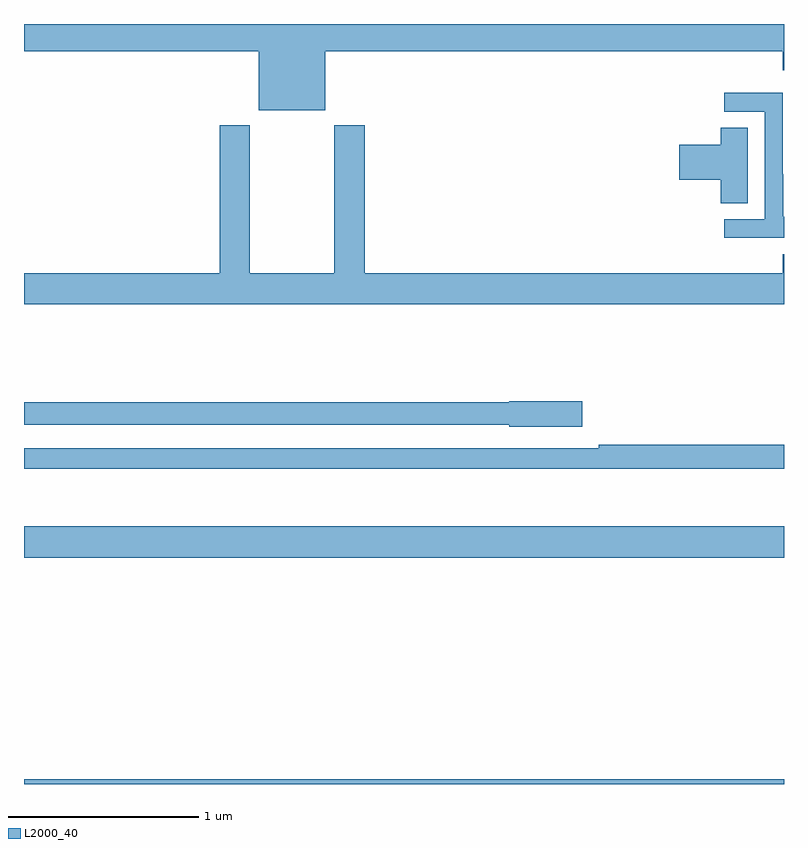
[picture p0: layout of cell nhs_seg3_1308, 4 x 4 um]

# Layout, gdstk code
import gdstk
lib = gdstk.Library(unit=1e-6, precision=1e-09)
def R(c, l, rs):  # rectangles x0, y0, x1, y1
    for r in rs: c.add(gdstk.rectangle(r[:2], r[2:], *l))
def P(c, l, *ps):  # polygons
    for p in ps: c.add(gdstk.Polygon(p, *l))
L2000_40 = (2000, 40)

nhs_seg3_1308 = lib.new_cell('nhs_seg3_1308')
R(nhs_seg3_1308, L2000_40, [(179,690.4,183,690.424), (179,691.592,183,691.756)])
P(nhs_seg3_1308, L2000_40, [(180.586,694.256),(182.993,694.256),(182.993,694.157),(183,694.157),(183,694.4),(179,694.4),(179,694.256),(180.236,694.256),(180.236,693.947),(180.586,693.947)],
  [(183,693.385),(182.997,693.385),(182.997,693.608),(182.994,693.608),(182.994,694.038),(182.685,694.038),(182.685,693.939),(182.898,693.939),(182.898,693.372),(182.685,693.372),(182.685,693.276),(183,693.276)],
  [(183,693.187),(182.993,693.187),(182.993,693.088),(180.794,693.088),(180.794,693.868),(180.634,693.868),(180.634,693.088),(180.189,693.088),(180.189,693.868),(180.029,693.868),(180.029,693.088),(179,693.088),(179,692.924),(183,692.924)],
  [(182.809,693.854),(182.666,693.854),(182.666,693.764),(182.448,693.764),(182.448,693.581),(182.666,693.581),(182.666,693.457),(182.809,693.457)],
  [(181.939,692.414),(181.554,692.414),(181.554,692.408),(179,692.408),(179,692.292),(181.554,692.292),(181.554,692.279),(181.939,692.279)],
  [(183,692.186),(182.026,692.186),(182.026,692.166),(179,692.166),(179,692.058),(183,692.058)])

lib.write_gds('nhs_seg3_1308.gds')
